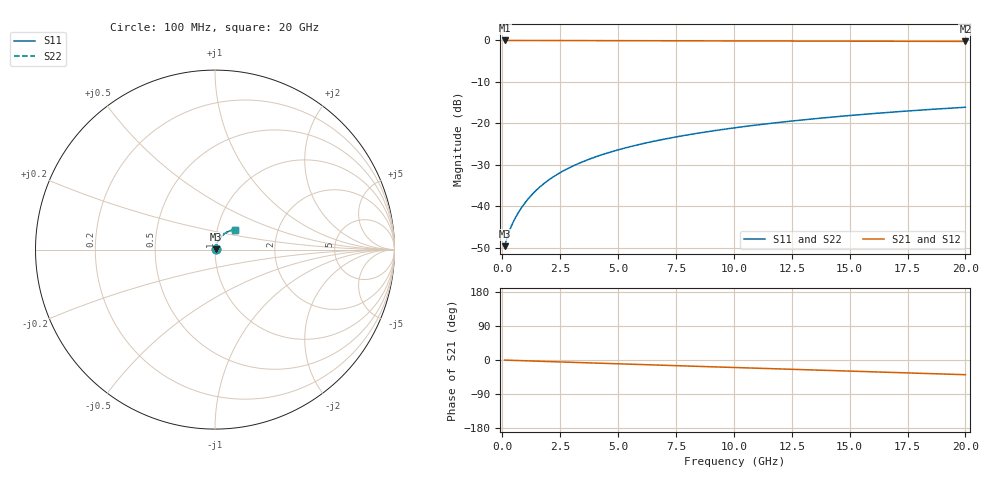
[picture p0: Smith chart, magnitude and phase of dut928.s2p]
! Touchstone file exported from HFSS 2026.1.0
!  File:  C:/ffzhzh/LocalFiles/Ansys_Project_Files/temp_train_BSMRDL_928_1783171852_43440.aedt
!  Generated:  09:32:04 PM Jul  4, 2026
!  Design:  BSMRDL
!  Project:  temp_train_BSMRDL_928_1783171852_43440
! Variables:
!  h_bsmrdl = 5.01um
!  h_ox = 20um
!  h_rdl = 5um
!  h_sub = 80um
!  h_tmrdl = 5um
!  h_tsv = 80um
!  h_via = 3um
!  l_bsmrdl = 680.51um
!  l_sub = 1080.51um
!  l_tmrdl = 200um
!  m_sub = 200um
!  pitch = 25.47um
!  r_tsv = 6um
!  s_tmrdl = 10um
!  w_bsmrdl = 16.97um
!  w_sub = 500um
!  w_tmrdl = 12um
!  x_tsv_center1 = 206um
!  x_tsv_center2 = 903.48um
!  x_tsv_center3 = 1115.48um
!  x_tsv_center4 = 1812.96um
!  x_tsv_center5 = 2024.96um
!  x_tsv_center6 = 2722.44um
# GHz S MA R 50.000000
! Terminal data exported
! Port[1] = BSM_RDL1_1_T1
! Port[2] = BSM_RDL1_1_T2
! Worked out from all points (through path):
!   200 points, 100 MHz to 20 GHz, reference 50 ohm
!   highest |S21| = -0.03 dB at 100 MHz (marker M1); lowest = -0.3 dB at 20 GHz (marker M2)
!   group delay of S21, straight-line fit = 5.37 ps
!   lowest |S11| = -49.6 dB at 100 MHz (marker M3), VSWR 1.01, Z = 50.3 + j0.136 ohm
!   |S11| at or under -10 dB: start of sweep to end of sweep
!   |S22| runs from -49.6 to -16.1 dB; largest |S21 - S12| = 4.2e-15
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0.1  0.003307 24.1  0.997 -0.2  0.997 -0.2  0.003307 24.1
! Gamma 0 0 0 0
! Port Impedance 50 0 50 0
0.2  0.004144 37.5  0.9967 -0.4  0.9967 -0.4  0.004144 37.5
0.3  0.005009 45.1  0.9965 -0.6  0.9965 -0.6  0.005009 45.1
0.4  0.005855 50.5  0.9963 -0.8  0.9963 -0.8  0.005855 50.5
0.6  0.007567 58.0  0.9961 -1.3  0.9961 -1.3  0.007567 58.0
0.9  0.01027 64.7  0.9959 -1.9  0.9959 -1.9  0.01027 64.7
1.1  0.01213 67.4  0.9957 -2.3  0.9957 -2.3  0.01213 67.4
1.3  0.01402 69.2  0.9955 -2.7  0.9955 -2.7  0.01402 69.2
1.7  0.01784 71.3  0.9952 -3.5  0.9952 -3.5  0.01784 71.3
2.2  0.02261 72.4  0.9946 -4.5  0.9946 -4.5  0.02261 72.4
2.8  0.02825 72.6  0.9939 -5.7  0.9939 -5.7  0.02825 72.6
3.5  0.03467 72.2  0.993 -7.1  0.993 -7.1  0.03467 72.2
4.2  0.04092 71.4  0.992 -8.5  0.992 -8.5  0.04092 71.4
5  0.04787 70.3  0.9908 -10.1  0.9908 -10.1  0.04787 70.3
5.9  0.05547 68.9  0.9895 -11.8  0.9895 -11.8  0.05547 68.9
6.8  0.06288 67.5  0.9883 -13.6  0.9883 -13.6  0.06288 67.5
8.3  0.07488 65.1  0.9863 -16.5  0.9863 -16.5  0.07487 65.2
10.1  0.08878 62.2  0.9839 -20.0  0.9839 -20.0  0.08878 62.2
11.7  0.1007 59.6  0.9818 -23.0  0.9818 -23.0  0.1007 59.6
13.4  0.113 56.7  0.9796 -26.3  0.9796 -26.3  0.113 56.7
16.7  0.1356 51.1  0.9753 -32.6  0.9753 -32.6  0.1356 51.1
20  0.1562 45.3  0.9711 -38.8  0.9711 -38.8  0.1562 45.4
